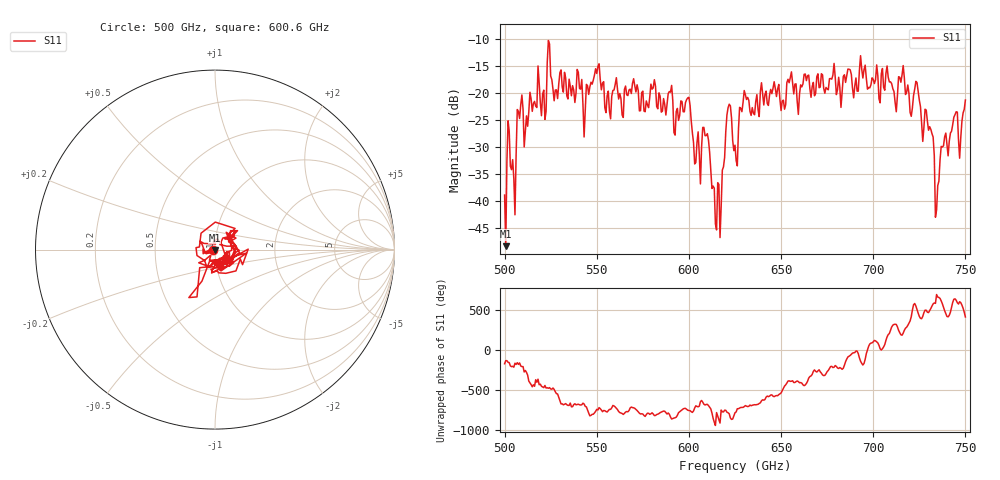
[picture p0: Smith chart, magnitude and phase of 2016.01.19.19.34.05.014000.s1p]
!Created with skrf (http://scikit-rf.org).
# GHz S RI R 50.0
!freq ReS11 ImS11
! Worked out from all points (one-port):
!   401 points, 500 GHz to 750 GHz, reference 50 ohm
!   lowest |S11| = -48.4 dB at 500.6 GHz (marker M1), VSWR 1.01, Z = 49.7 - j0.265 ohm
!   |S11| at or under -10 dB: start of sweep to end of sweep
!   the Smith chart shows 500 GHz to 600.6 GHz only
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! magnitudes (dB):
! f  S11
! 500 GHz  -39.0
! 500.6 GHz  -48.4
! 502.5 GHz  -27.1
! 505 GHz  -35.9
! 508.1 GHz  -24.8
! 521.2 GHz  -19.5
! 524.4 GHz  -11.0
! 527.5 GHz  -19.5
! 531.2 GHz  -19.0
! 550 GHz  -16.4
! 562.5 GHz  -20.2
! 580.6 GHz  -19.1
! 593.8 GHz  -22.9
! 599.4 GHz  -21.0
! 605 GHz  -27.3
! 609.4 GHz  -28.0
! 615.6 GHz  -36.7
! 621.2 GHz  -22.8
! 625 GHz  -29.7
! 630.6 GHz  -20.4
! 656.2 GHz  -18.2
! 687.5 GHz  -15.8
! 718.8 GHz  -18.6
! 729.4 GHz  -25.3
! 735 GHz  -37.2
! 738.1 GHz  -29.8
! 747.5 GHz  -28.3
! 750 GHz  -21.4
